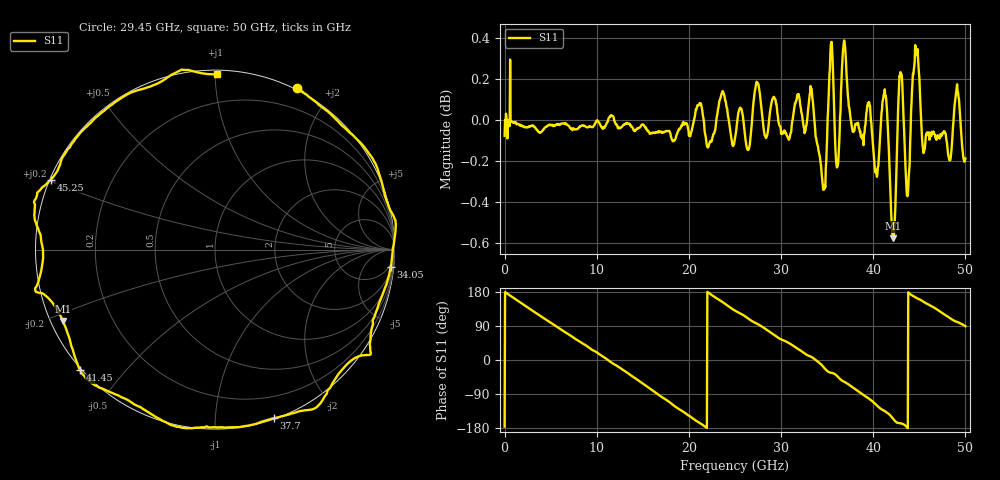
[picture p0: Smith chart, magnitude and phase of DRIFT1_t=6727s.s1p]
!Created with skrf (http://scikit-rf.org).
# Hz S RI R 50.0
!freq ReS11 ImS11
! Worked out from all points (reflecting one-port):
!   1001 points, 300 kHz to 50 GHz, reference 50 ohm
!   lowest |S11| = -0.6 dB at 42.15 GHz (marker M1), VSWR 30.18, Z = 1.74 - j11.1 ohm
!   phase of S11 starts at -176 deg and turns -815 deg over the sweep
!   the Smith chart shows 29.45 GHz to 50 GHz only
!   S11 on the Smith chart (normalised r, x): 29.45 GHz: -0.02, +1.63; 34.05 GHz: 3, -20; 37.7 GHz: 0.01, -1.41; 41.45 GHz: -0.00, -0.38; 45.25 GHz: 0.00, +0.20; 50 GHz: 0.02, +1.01
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300000  -0.9884 -0.0732
1.550291e9  -0.8992 0.4315
3.30028e9  -0.581 0.8087
6.250262e9  0.2012 0.9775
9.500243e9  0.8904 0.4462
1.115023e10  0.9985 0.0199
1.250022e10  0.9325 -0.3478
1.580021e10  0.2413 -0.9624
1.73502e10  -0.2089 -0.971
1.875019e10  -0.5949 -0.7948
2.155017e10  -0.9922 -0.1355
2.350016e10  -0.9215 0.4229
2.500015e10  -0.6393 0.7557
2.735014e10  -0.1092 1.016
2.945012e10  0.4549 0.9005
3.125011e10  0.7819 0.6233
3.40501e10  0.9783 -0.0972
3.520009e10  0.8646 -0.5381
3.750008e10  0.3828 -0.9264
3.770007e10  0.3275 -0.9402
3.950006e10  -0.198 -0.9882
4.145005e10  -0.7517 -0.6719
4.215005e10  -0.8473 -0.3974
4.290004e10  -0.9976 -0.2337
4.375004e10  -0.9585 -3.27e-07
4.525003e10  -0.9152 0.3896
4.770001e10  -0.5003 0.8574
5e10  0.0139 0.9784
